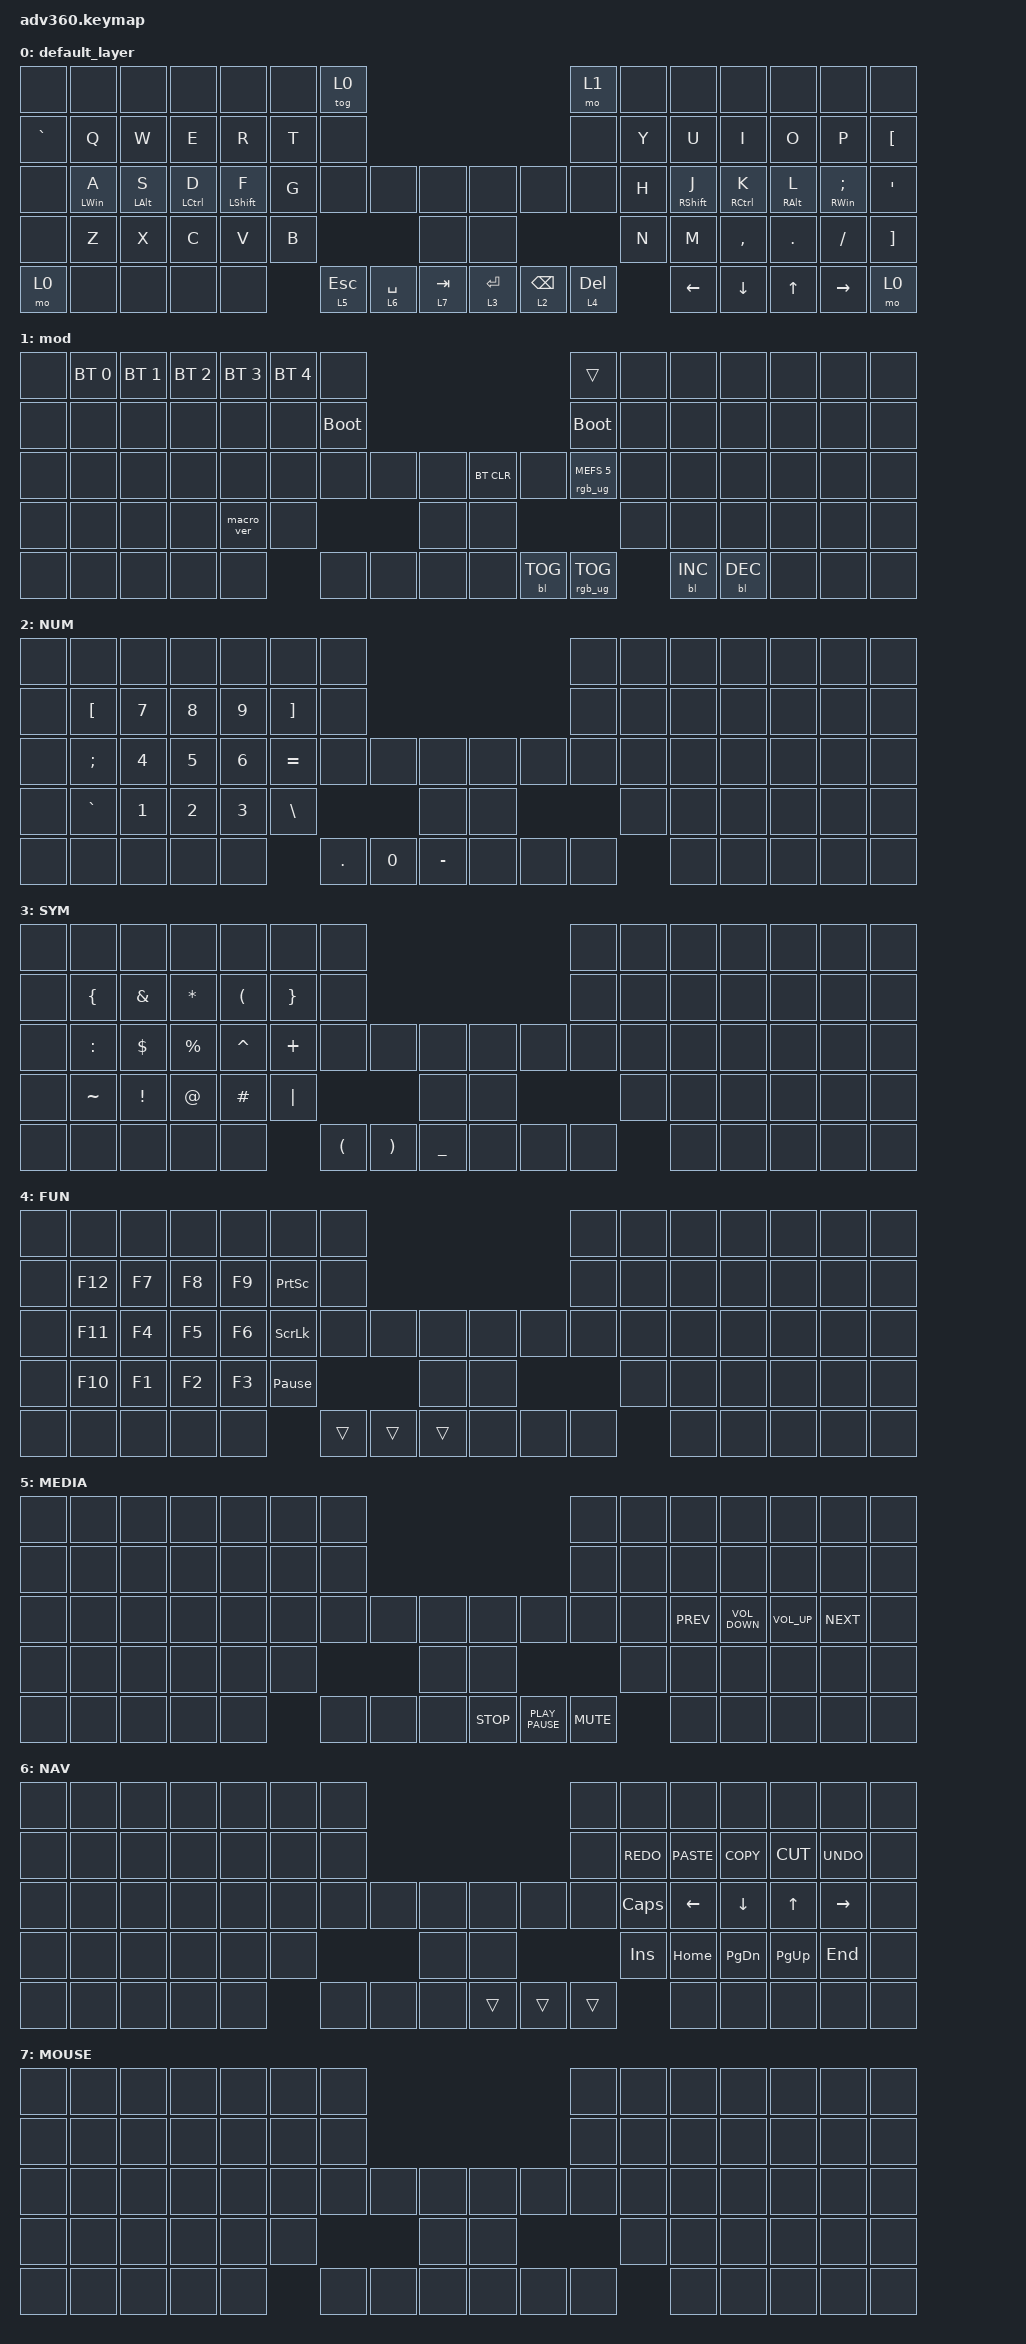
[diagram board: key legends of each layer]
#include <behaviors.dtsi>
#include <dt-bindings/zmk/backlight.h>
#include <dt-bindings/zmk/bt.h>
#include <dt-bindings/zmk/keys.h>
#include <dt-bindings/zmk/rgb.h>

/ {
    behaviors {
        #include "macros.dtsi"
      #include "version.dtsi"
      #ifndef VERSION_MACRO

        macro_ver: macro_ver {
            compatible = "zmk,behavior-macro";
            label = "macro_version";
            #binding-cells = <0>;
            bindings = <&kp RET>;
        };

        #endif

        hm: homerow_mods {
            compatible = "zmk,behavior-hold-tap";
            label = "HOMEROW_MODS";
            #binding-cells = <2>;
            tapping-term-ms = <200>;
            quick_tap_ms = <175>;
            flavor = "tap-preferred";
            bindings = <&kp>, <&kp>;
        };
    };

    macros {
    };

    keymap {
        compatible = "zmk,keymap";

        default_layer {
            bindings = <
&none      &none           &none           &none        &none             &none  &tog 0                                                                  &mo 1         &none  &none              &none        &none            &none               &none
&kp GRAVE  &kp Q           &kp W           &kp E        &kp R             &kp T  &none                                                                   &none         &kp Y  &kp U              &kp I        &kp O            &kp P               &kp LEFT_BRACKET
&none      &hm LEFT_WIN A  &hm LEFT_ALT S  &hm LCTRL D  &hm LEFT_SHIFT F  &kp G  &none         &none        &none          &none        &none            &none         &kp H  &hm RIGHT_SHIFT J  &hm RCTRL K  &hm RIGHT_ALT L  &hm RIGHT_WIN SEMI  &kp SQT
&none      &kp Z           &kp X           &kp C        &kp V             &kp B                             &none          &none                                       &kp N  &kp M              &kp COMMA    &kp DOT          &kp FSLH            &kp RIGHT_BRACKET
&mo 0      &none           &none           &none        &none                    &lt 5 ESCAPE  &lt 6 SPACE  &lt 7 TAB      &lt 3 ENTER  &lt 2 BACKSPACE  &lt 4 DELETE         &kp LEFT           &kp DOWN     &kp UP_ARROW     &kp RIGHT           &mo 0
            >;
        };

        mod {
            bindings = <
&none  &bt BT_SEL 0  &bt BT_SEL 1  &bt BT_SEL 2  &bt BT_SEL 3  &bt BT_SEL 4  &none                                                  &trans                  &none  &none       &none       &none  &none  &none
&none  &none         &none         &none         &none         &none         &bootloader                                            &bootloader             &none  &none       &none       &none  &none  &none
&none  &none         &none         &none         &none         &none         &none        &none  &none      &bt BT_CLR  &none       &rgb_ug RGB_MEFS_CMD 5  &none  &none       &none       &none  &none  &none
&none  &none         &none         &none         &macro_ver    &none                             &none      &none                                           &none  &none       &none       &none  &none  &none
&none  &none         &none         &none         &none                       &none        &none  &none      &none       &bl BL_TOG  &rgb_ug RGB_TOG                &bl BL_INC  &bl BL_DEC  &none  &none  &none
            >;
        };

        NUM {
            bindings = <
&none  &none      &none   &none   &none   &none      &none                                         &none  &none  &none  &none  &none  &none  &none
&none  &kp LBKT   &kp N7  &kp N8  &kp N9  &kp RBKT   &none                                         &none  &none  &none  &none  &none  &none  &none
&none  &kp SEMI   &kp N4  &kp N5  &kp N6  &kp EQUAL  &none    &none   &none          &none  &none  &none  &none  &none  &none  &none  &none  &none
&none  &kp GRAVE  &kp N1  &kp N2  &kp N3  &kp BSLH                    &none          &none                &none  &none  &none  &none  &none  &none
&none  &none      &none   &none   &none              &kp DOT  &kp N0  &kp MINUS      &none  &none  &none         &none  &none  &none  &none  &none
            >;
        };

        SYM {
            bindings = <
&none  &none           &none            &none         &none                 &none            &none                                                                          &none  &none  &none  &none  &none  &none  &none
&none  &kp LEFT_BRACE  &kp AMPERSAND    &kp ASTERISK  &kp LEFT_PARENTHESIS  &kp RIGHT_BRACE  &none                                                                          &none  &none  &none  &none  &none  &none  &none
&none  &kp COLON       &kp DOLLAR       &kp PERCENT   &kp CARET             &kp PLUS         &none                 &none                  &none               &none  &none  &none  &none  &none  &none  &none  &none  &none
&none  &kp TILDE       &kp EXCLAMATION  &kp AT_SIGN   &kp HASH              &kp PIPE                                                      &none               &none                &none  &none  &none  &none  &none  &none
&none  &none           &none            &none         &none                                  &kp LEFT_PARENTHESIS  &kp RIGHT_PARENTHESIS  &kp UNDERSCORE      &none  &none  &none         &none  &none  &none  &none  &none
            >;
        };

        FUN {
            bindings = <
&none  &none    &none   &none   &none   &none            &none                                     &none  &none  &none  &none  &none  &none  &none
&none  &kp F12  &kp F7  &kp F8  &kp F9  &kp PRINTSCREEN  &none                                     &none  &none  &none  &none  &none  &none  &none
&none  &kp F11  &kp F4  &kp F5  &kp F6  &kp SCROLLLOCK   &none   &none   &none       &none  &none  &none  &none  &none  &none  &none  &none  &none
&none  &kp F10  &kp F1  &kp F2  &kp F3  &kp PAUSE_BREAK                  &none       &none                &none  &none  &none  &none  &none  &none
&none  &none    &none   &none   &none                    &trans  &trans  &trans      &none  &none  &none         &none  &none  &none  &none  &none
            >;
        };

        MEDIA {
            bindings = <
&none  &none  &none  &none  &none  &none  &none                                                  &none       &none  &none       &none              &none            &none       &none
&none  &none  &none  &none  &none  &none  &none                                                  &none       &none  &none       &none              &none            &none       &none
&none  &none  &none  &none  &none  &none  &none  &none  &none      &none       &none             &none       &none  &kp K_PREV  &kp K_VOLUME_DOWN  &kp K_VOLUME_UP  &kp K_NEXT  &none
&none  &none  &none  &none  &none  &none                &none      &none                                     &none  &none       &none              &none            &none       &none
&none  &none  &none  &none  &none         &none  &none  &none      &kp K_STOP  &kp K_PLAY_PAUSE  &kp K_MUTE         &none       &none              &none            &none       &none
            >;
        };

        NAV {
            bindings = <
&none  &none  &none  &none  &none  &none  &none                                    &none   &none         &none        &none          &none        &none       &none
&none  &none  &none  &none  &none  &none  &none                                    &none   &kp K_REDO    &kp K_PASTE  &kp K_COPY     &kp K_CUT    &kp K_UNDO  &none
&none  &none  &none  &none  &none  &none  &none  &none  &none      &none   &none   &none   &kp CAPSLOCK  &kp LEFT     &kp DOWN       &kp UP       &kp RIGHT   &none
&none  &none  &none  &none  &none  &none                &none      &none                   &kp INSERT    &kp HOME     &kp PAGE_DOWN  &kp PAGE_UP  &kp END     &none
&none  &none  &none  &none  &none         &none  &none  &none      &trans  &trans  &trans                &none        &none          &none        &none       &none
            >;
        };

        MOUSE {
            bindings = <
&none  &none  &none  &none  &none  &none  &none                                  &none  &none  &none  &none  &none  &none  &none
&none  &none  &none  &none  &none  &none  &none                                  &none  &none  &none  &none  &none  &none  &none
&none  &none  &none  &none  &none  &none  &none  &none  &none      &none  &none  &none  &none  &none  &none  &none  &none  &none
&none  &none  &none  &none  &none  &none                &none      &none                &none  &none  &none  &none  &none  &none
&none  &none  &none  &none  &none         &none  &none  &none      &none  &none  &none         &none  &none  &none  &none  &none
            >;
        };
    };
};
